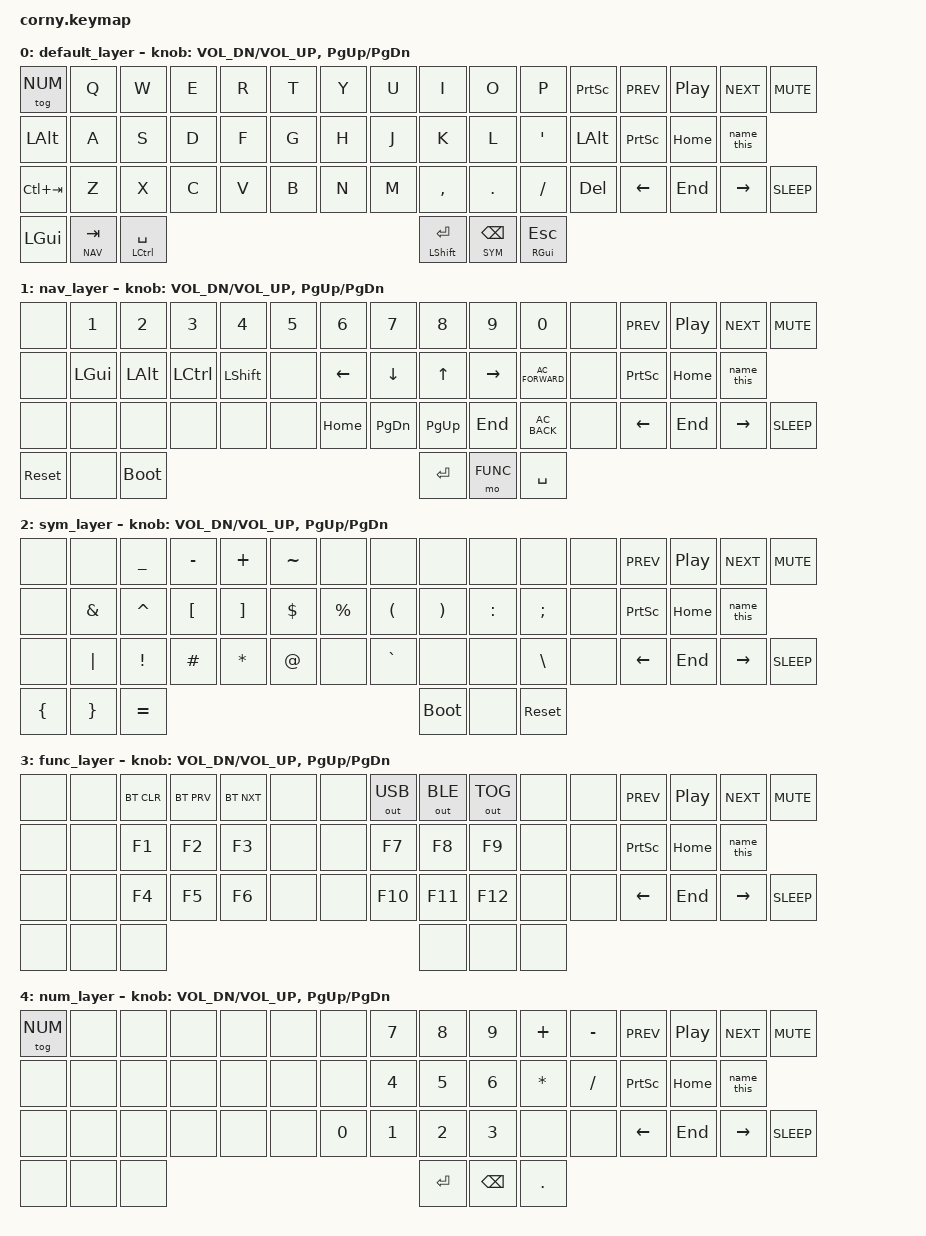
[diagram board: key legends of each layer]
#include <behaviors.dtsi>
#include <dt-bindings/zmk/keys.h>
#include <dt-bindings/zmk/bt.h>
#include <dt-bindings/zmk/outputs.h>

#define DEFAULT 0
#define NAV     1
#define SYM     2
#define FUNC    3
#define NUM     4

&caps_word {
  continue-list = <UNDERSCORE BACKSPACE DELETE MINUS>;
};

/ {
    combos {
        compatible = "zmk,combos";
        combo_capsword {
            timeout-ms = <50>;
            key-positions = <15 20>;
            bindings = <&caps_word>;
        };
        combo_ctrl-space {
            timeout-ms = <50>;
            key-positions = <16 19>;
            bindings = <&kp LC(SPACE)>;
        };
    };
};

/ {
    macros {
        name_this: name_this {
            compatible = "zmk,behavior-macro";
            #binding-cells = <0>;
            bindings
                = <&macro_press &kp LSHFT>
                , <&macro_tap &kp T &kp H &kp E &kp R &kp M &kp A &kp L>
                , <&macro_release &kp LSHFT>
                ;
        };
    };
};

/ {

    behaviors {
        ht: hold_tap {
            compatible = "zmk,behavior-hold-tap";
            #binding-cells = <2>;
            tapping-term-ms = <150>;
            quick-tap-ms = <0>;
            flavor = "tap-preferred";
            bindings = <&kp>, <&kp>;
        };
    };

    keymap {
        compatible = "zmk,keymap";

        default_layer {

// --------------------------------------------------------------------------------
// | NUM  |  Q  |  W  |  E  |  R  |  T  |    |  Y  |  U  |  I  |  O  |  P  | PSCR |
// | ALT  |  A  |  S  |  D  |  F  |  G  |    |  H  |  J  |  K  |  L  |  '  | ALT  |
// | CTAB |  Z  |  X  |  C  |  V  |  B  |    |  N  |  M  |  ,  |  .  |  /  | DEL  |
//              | GUI | L(TAB) | C(SPC) |    | S(ENT) | R(BSP) | GUI(ESC) |

            bindings = <
    &tog NUM    &kp Q &kp W &kp E &kp R &kp T    &kp Y &kp U &kp I     &kp O   &kp P    &kp PSCRN    &kp C_PREV  &kp C_PLAY_PAUSE  &kp C_NEXT  &kp C_MUTE
    &kp LALT    &kp A &kp S &kp D &kp F &kp G    &kp H &kp J &kp K     &kp L   &kp SQT  &kp LALT     &kp PSCRN   &kp HOME          &name_this
    &kp LC(TAB) &kp Z &kp X &kp C &kp V &kp B    &kp N &kp M &kp COMMA &kp DOT &kp FSLH &kp DEL      &kp LEFT    &kp END           &kp RIGHT   &kp C_SLEEP
         &kp LGUI &lt NAV TAB &ht LCTRL SPACE    &mt LSHFT RET &lt SYM BSPC &mt RGUI ESC
            >;

            sensor-bindings = <&inc_dec_kp C_VOL_DN C_VOL_UP &inc_dec_kp PG_UP PG_DN>;

        };

        nav_layer {

// -----------------------------------------------------------------------------------------
// |  no  |  1   |  2   |  3   |  4   |  5   |    |  6   |  7   |  8   |  9  |  0   |  no  |
// |  no  |  GUI |  ALT | CTRL | SHFT |  no  |    | LFT  | DWN  |  UP  | RGT | FWD  |  no  |
// |  no  |  no  |  no  |  no  |  no  |  no  |    | HOME | PGDN | PGUP | END | BACK |  no  |
//                      |  rst |  no  | boot |    | ENT  | FUNC | SPC  |

            bindings = <
    &none &kp N1   &kp N2   &kp N3    &kp N4    &kp N5    &kp N6   &kp N7    &kp N8    &kp N9    &kp N0           &none    &kp C_PREV  &kp C_PLAY_PAUSE  &kp C_NEXT  &kp C_MUTE
    &none &kp LGUI &kp LALT &kp LCTRL &kp LSHFT &none     &kp LEFT &kp DOWN  &kp UP    &kp RIGHT &kp C_AC_FORWARD &none    &kp PSCRN   &kp HOME          &name_this
    &none &none    &none    &none     &none     &none     &kp HOME &kp PG_DN &kp PG_UP &kp END   &kp C_AC_BACK    &none    &kp LEFT    &kp END           &kp RIGHT   &kp C_SLEEP
                          &sys_reset &none &bootloader    &kp RET &mo FUNC &kp SPACE
            >;
 
            sensor-bindings = <&inc_dec_kp C_VOL_DN C_VOL_UP &inc_dec_kp PG_UP PG_DN>;

       };

        sym_layer {

// -------------------------------------------------------------------------------------
// |  no  |  no |  _  |  -  |  +  |  ~  |    |  no  |  no  |  no  |  no  |  no  |  no  |
// |  no  |  &  |  ^  |  [  |  ]  |  $  |    |  %   |  (   |  )   |  :   |  ;   |  no  |
// |  no  | '|' |  !  | '#' |  *  |  @  |    |  no  |  `   |  no  |  no  |  \   |  no  |
//                    |  {  |  }  |  =  |    | boot |  no  |  rst |

            bindings = <
    &none &none    &kp UNDER &kp MINUS &kp PLUS  &kp TILDE    &none     &none     &none    &none     &none    &none    &kp C_PREV  &kp C_PLAY_PAUSE  &kp C_NEXT  &kp C_MUTE
    &none &kp AMPS &kp CARET &kp LBKT  &kp RBKT  &kp DLLR     &kp PRCNT &kp LPAR  &kp RPAR &kp COLON &kp SEMI &none    &kp PSCRN   &kp HOME          &name_this
    &none &kp PIPE &kp EXCL  &kp HASH  &kp ASTRK &kp AT       &none     &kp GRAVE &none    &none     &kp BSLH &none    &kp LEFT    &kp END           &kp RIGHT   &kp C_SLEEP
                              &kp LBRC &kp RBRC  &kp EQUAL    &bootloader &none &sys_reset
            >;
 
            sensor-bindings = <&inc_dec_kp C_VOL_DN C_VOL_UP &inc_dec_kp PG_UP PG_DN>;

       };

        func_layer {

// ------------------------------------------------------------------------------------------
// |  no  |  no  |  BTC |  BTP |  BTN |  no  |    |  no  |  USB |  BLE |  TOG |  no  |  no  |
// |  no  |  no  |  F1  |  F2  |  F3  |  no  |    |  no  |  F7  |  F8  |  F9  |  no  |  no  |
// |  no  |  no  |  F4  |  F5  |  F6  |  no  |    |  no  |  F10 |  F11 |  F12 |  no  |  no  |
//                      |  no  |  no  |  no  |    |  no  |  no  |  no  |

            bindings = <
    &none &none &bt BT_CLR &bt BT_PRV &bt BT_NXT &none     &none  &out OUT_USB &out OUT_BLE &out OUT_TOG &none &none    &kp C_PREV  &kp C_PLAY_PAUSE  &kp C_NEXT  &kp C_MUTE
    &none &none &kp F1     &kp F2     &kp F3     &none     &none  &kp F7       &kp F8       &kp F9       &none &none    &kp PSCRN   &kp HOME          &name_this
    &none &none &kp F4     &kp F5     &kp F6     &none     &none  &kp F10      &kp F11      &kp F12      &none &none    &kp LEFT    &kp END           &kp RIGHT   &kp C_SLEEP
                                     &none &none &none     &none &none &none 
            >;
 
            sensor-bindings = <&inc_dec_kp C_VOL_DN C_VOL_UP &inc_dec_kp PG_UP PG_DN>;

       };

        num_layer {

// --------------------------------------------------------------------------------------
// |  no  |  no  |  no  |  no  |  no  |  no  |    |  no  |  7   |  8  |  9  |  +  |  -  |
// |  no  |  no  |  no  |  no  |  no  |  no  |    |  no  |  4   |  5  |  6  |  *  |  /  |
// |  no  |  no  |  no  |  no  |  no  |  no  |    |  0   |  1   |  2  |  3  |  no |  no |
//                      |  no  |  no  |  no  |    |  RET | BSPC |  .  |

            bindings = <
    &tog NUM &none &none &none &none &none    &none  &kp N7 &kp N8 &kp N9 &kp PLUS  &kp MINUS    &kp C_PREV  &kp C_PLAY_PAUSE  &kp C_NEXT  &kp C_MUTE 
    &none    &none &none &none &none &none    &none  &kp N4 &kp N5 &kp N6 &kp ASTRK &kp FSLH     &kp PSCRN   &kp HOME          &name_this 
    &none    &none &none &none &none &none    &kp N0 &kp N1 &kp N2 &kp N3 &none     &none        &kp LEFT    &kp END           &kp RIGHT   &kp C_SLEEP
                         &none &none &none    &kp RET &kp BSPC  &kp DOT
            >;
 
            sensor-bindings = <&inc_dec_kp C_VOL_DN C_VOL_UP &inc_dec_kp PG_UP PG_DN>;

       };
    };

};
